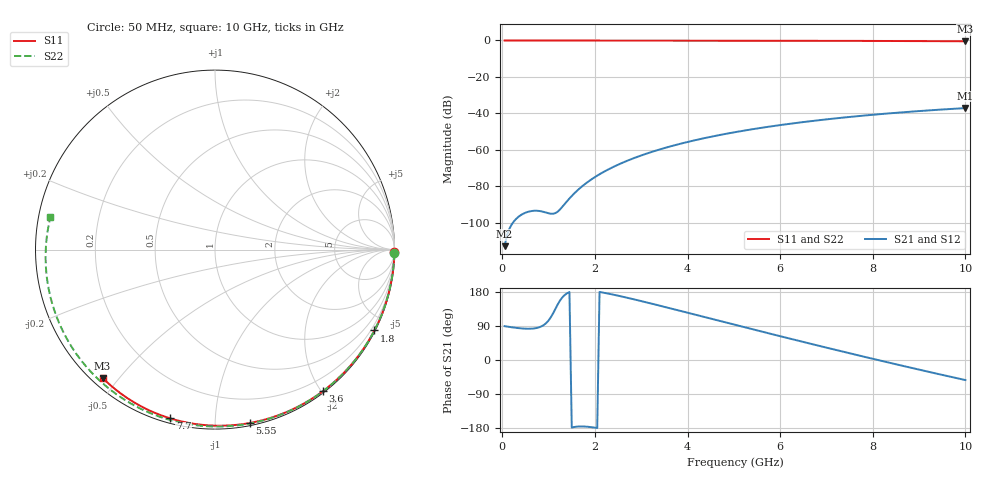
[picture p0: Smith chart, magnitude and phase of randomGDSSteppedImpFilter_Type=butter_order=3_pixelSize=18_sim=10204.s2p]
! freq	dB(S11)	phase(S11)	dB(S12)	phase(S12)
!  dB(S21)	phase(S21)	dB(S22)	phase(S22)
!S-par simulation data
#  GHz  S  DB  R 50
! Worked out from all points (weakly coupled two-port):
!   200 points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, 50 MHz to 10 GHz, reference 50 ohm
!   highest |S21| = -37.08 dB at 10 GHz (marker M1); lowest = -112.8 dB at 50 MHz (marker M2)
!   lowest |S11| = -0.4 dB at 10 GHz (marker M3), VSWR 39.20, Z = 1.54 - j22.6 ohm
!   |S11| at or under -10 dB: nowhere
!   |S22| runs from -0.6 to 0.0 dB; largest |S21 - S12| = 0
!   S11 on the Smith chart (normalised r, x): 50 MHz: open; 1.8 GHz: 0.04, -4.18; 3.6 GHz: 0.02, -2.02; 5.55 GHz: 0.02, -1.22; 7.7 GHz: 0.02, -0.77; 10 GHz: 0.03, -0.45
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0.05  -0.00 -0.8  -112.77 89.3  -112.77 89.3  -0.00 -1.2
0.45  -0.01 -6.8  -95.01 83.0  -95.01 83.0  -0.01 -10.2
0.85  -0.02 -12.8  -93.71 89.0  -93.71 89.0  -0.02 -19.2
1.25  -0.02 -18.8  -92.55 157.6  -92.55 157.6  -0.04 -28.2
1.7  -0.03 -25.4  -80.46 -175.3  -80.46 -175.3  -0.05 -38.0
1.75  -0.03 -26.2  -79.42 -175.4  -79.42 -175.4  -0.05 -39.1
1.8  -0.03 -26.9  -78.43 -175.7  -78.43 -175.7  -0.05 -40.2
2.1  -0.04 -31.3  -73.35 179.6  -73.35 179.6  -0.06 -46.7
2.5  -0.05 -37.1  -68.11 169.8  -68.11 169.8  -0.07 -55.1
2.9  -0.06 -42.8  -63.95 158.4  -63.95 158.4  -0.08 -63.4
3.4  -0.07 -49.8  -59.74 143.4  -59.74 143.4  -0.10 -73.5
3.6  -0.07 -52.6  -58.28 137.2  -58.28 137.2  -0.10 -77.4
4.3  -0.09 -62.2  -53.90 115.4  -53.90 115.4  -0.13 -90.9
5.05  -0.11 -72.1  -50.16 92.1  -50.16 92.1  -0.16 -104.8
5.55  -0.13 -78.6  -48.07 76.6  -48.07 76.6  -0.18 -113.8
6.1  -0.15 -85.5  -46.05 59.7  -46.05 59.7  -0.21 -123.5
6.7  -0.18 -92.9  -44.12 41.6  -44.12 41.6  -0.25 -133.8
7.2  -0.21 -99.0  -42.70 26.6  -42.70 26.6  -0.29 -142.4
7.7  -0.24 -104.9  -41.43 11.9  -41.43 11.9  -0.33 -150.9
8.35  -0.29 -112.5  -39.97 -7.0  -39.97 -7.0  -0.40 -161.9
9.2  -0.36 -122.2  -38.35 -31.0  -38.35 -31.0  -0.49 -176.7
10  -0.44 -131.2  -37.08 -53.0  -37.08 -53.0  -0.59 168.9
